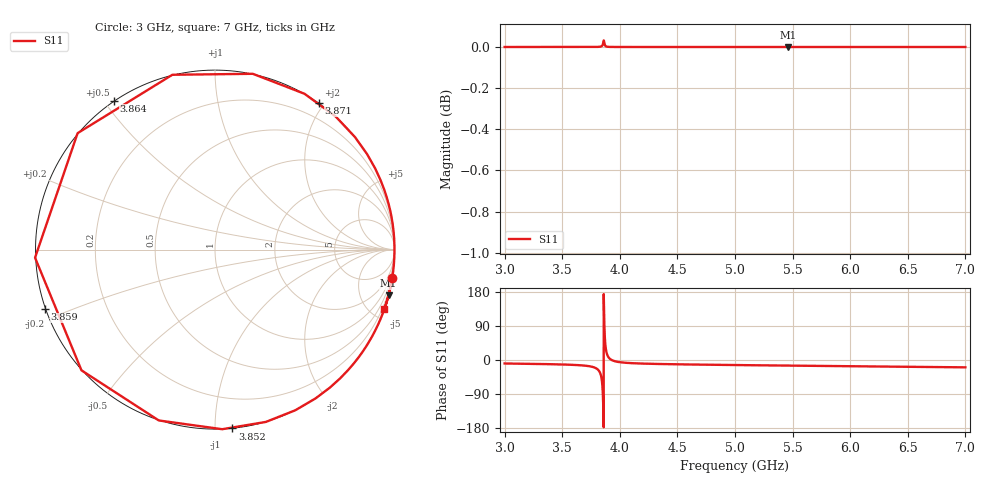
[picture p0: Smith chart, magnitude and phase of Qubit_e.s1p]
! Created with skrf (http://scikit-rf.org).
# GHz S RI R 54.93
!freq ReS11 ImS11
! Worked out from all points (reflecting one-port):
!   8001 points, 3 GHz to 7 GHz, reference 54.93 ohm
!   lowest |S11| = 0.0 dB at 5.461 GHz (marker M1)
!   phase of S11 starts at -9 deg and turns -370 deg over the sweep
!   S11 on the Smith chart (normalised r, x): 3 GHz: 0, -12; 3.852 GHz: -0.00, -1.10; 3.859 GHz: -0.00, -0.17; 3.864 GHz: -0.00, +0.53; 3.871 GHz: -0.00, +1.93; 7 GHz: -0.00, -5.86
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3  0.9871 -0.1598
3.5  0.9788 -0.2049
3.7215  0.9624 -0.2717
3.774  0.9445 -0.3285
3.8065  0.9106 -0.4134
3.828  0.8354 -0.5499
3.834  0.7852 -0.6196
3.8385  0.7245 -0.6897
3.8415  0.6644 -0.7479
3.845  0.5598 -0.8293
3.852  0.0967 -0.9967
3.859  -0.9467 -0.3326
3.8635  -0.5626 0.8305
3.871  0.579 0.8166
3.876  0.8105 0.5867
3.881  0.9052 0.4258
3.887  0.9549 0.2977
3.895  0.9821 0.189
3.9085  0.9966 0.0836
3.928  1 0.00396
4  0.995 -0.1
4.5  0.9803 -0.1973
5  0.9731 -0.2302
5.4605  0.9668 -0.2555
5.5  0.9663 -0.2575
6  0.9591 -0.2831
6.5  0.9515 -0.3077
7  0.9433 -0.3319
